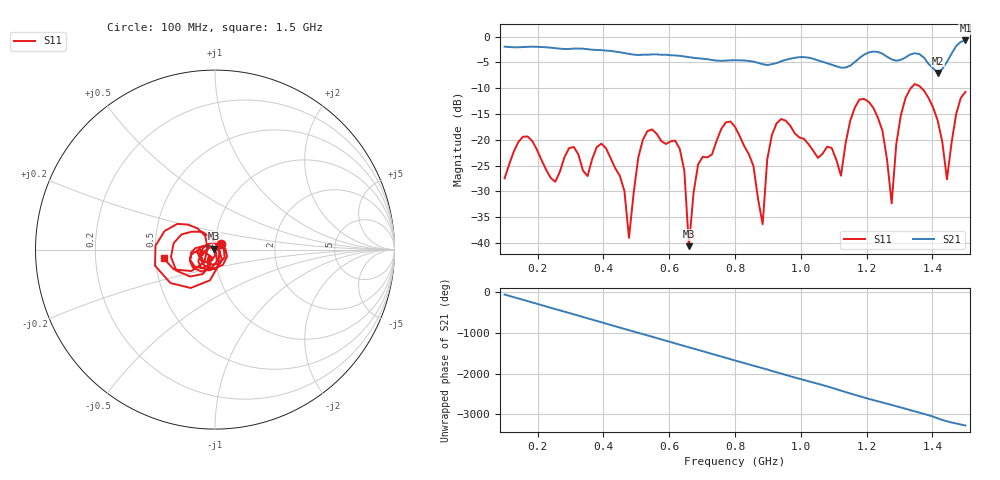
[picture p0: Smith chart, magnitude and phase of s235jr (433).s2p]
! NanoVNA-App
! Date: 2025-09-25 15:07:32
! Start: 100MHz Stop: 1,5GHz Points: 101
! S-Parameter data: F S11 S21 S12 S22
# Hz S RI R 50
!  Frequency  S11_Real  S11_Imag  S21_Real  S21_Imag  S12_Real  S12_Imag  S22_Real  S22_Imag
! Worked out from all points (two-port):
!   101 points, 100 MHz to 1.5 GHz, reference 50 ohm
!   highest |S21| = -0.76 dB at 1.5 GHz (marker M1); lowest = -7.1 dB at 1.416 GHz (marker M2)
!   |S21| within 3 dB of the highest: start of sweep to 634.5 MHz; 1.187 GHz to 1.258 GHz (71.44 MHz wide, 5.84 % of centre) (the widest 2 of 4)
!   lowest |S11| = -40.6 dB at 660 MHz (marker M3), VSWR 1.02, Z = 49.3 + j0.589 ohm
!   |S11| at or under -10 dB: start of sweep to 1.334 GHz; 1.367 GHz to end of sweep
!   S12 and S22 are empty: the file has one direction only
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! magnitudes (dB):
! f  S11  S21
! 100 MHz  -27.5  -2.0
! 156 MHz  -19.4  -2.0
! 338 MHz  -26.0  -2.4
! 408 MHz  -21.6  -2.7
! 478 MHz  -39.0  -3.4
! 520 MHz  -20.0  -3.5
! 576 MHz  -20.3  -3.5
! 632 MHz  -21.7  -3.7
! 660 MHz  -40.6  -4.0
! 688 MHz  -24.8  -4.2
! 800 MHz  -17.5  -4.6
! 884 MHz  -36.4  -5.4
! 926 MHz  -16.9  -5.2
! 1.038 GHz  -22.2  -4.3
! 1.122 GHz  -27.0  -6.0
! 1.206 GHz  -12.6  -3.1
! 1.248 GHz  -18.3  -3.3
! 1.276 GHz  -32.3  -4.4
! 1.332 GHz  -10.2  -3.5
! 1.416 GHz  -16.3  -7.1
! 1.444 GHz  -27.7  -4.9
! 1.5 GHz  -10.7  -0.8
